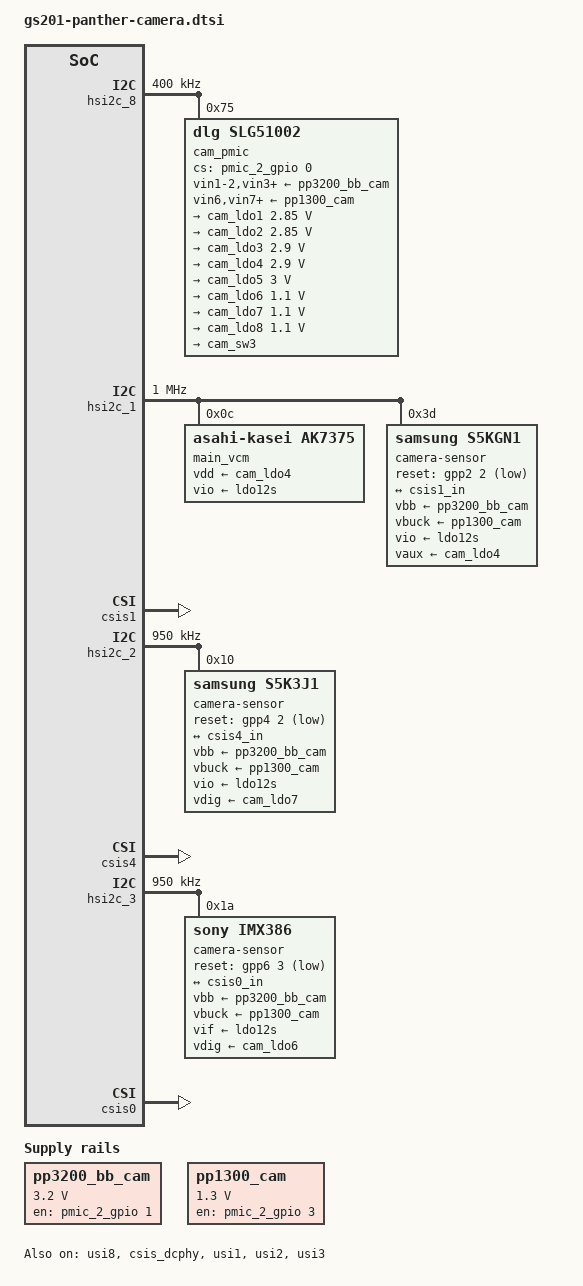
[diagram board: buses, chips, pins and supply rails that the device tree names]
// SPDX-License-Identifier: GPL-2.0-only
/*
 * Google Pixel 7 (panther) cameras: main (Samsung S5KGN1), ultrawide (Sony
 * IMX386) and front (Samsung S5K3J1), through omarchy-mobile's CSIS/WDMA,
 * DC-PHY and sensor drivers (CAMERA-PLAN.md there). Cheetah's nodes
 * (gs201-cheetah.dts), checked against the stock dtbo's PANTHER MP entry
 * (board 0x30406) next to its CHEETAH MP one: the same buses, addresses,
 * reset pins, clocks and power switches, with three differences, all here:
 *
 *  - the front camera is powered from the camera PMIC's LDO7 (1.1 V, its
 *    digital supply) and LDO5 (3.0 V), where cheetah's uses LDO8 and the
 *    PMIC's switch 4; the order is the driver's (vdig, then vsw);
 *  - three camera PMIC voltages: LDO3 2.9 V, LDO5 3.0 V, LDO7 1.1 V;
 *  - the ultrawide has no focus actuator, and there is no telephoto.
 *
 * The sensor and PHY settings come from the phone's own camera software
 * (omarchy-mobile's tools/extract-camera-data), never from the repository:
 * /usr/lib/firmware/omamobile/camera/. The drivers are kept from loading at
 * boot (overlay/etc/modprobe.d/ztos-camera.conf) and loaded once the boot
 * has settled (ztos-camera.service).
 */

#include <dt-bindings/media/video-interfaces.h>

&{/reserved-memory} {
	/*
	 * Capture buffers: the CSIS WDMA takes 32-bit addresses and its
	 * SysMMU is left in bypass, so frames go to contiguous memory below
	 * 4 GiB. Reusable: the pages serve movable allocations while no
	 * camera streams.
	 */
	camera_pool: camera-pool {
		compatible = "shared-dma-pool";
		reusable;
		size = <0x8000000>;
		/* read with the root's #address-cells (2), not #size-cells */
		alignment = <0x0 0x200000>;
		alloc-ranges = <0x0 0x80000000 0x80000000>;
	};
};

/*
 * Sub PMIC (S2MPG13): its GPIOs switch the camera power (GPIO0 the camera
 * PMIC's chip select, GPIO1 PP3200_BB_CAM, GPIO3 PP1300_CAM) and its LDO12S
 * is every sensor's 1.8 V I/O supply. Only LDO12S is described, so nothing
 * else on this PMIC can be switched.
 */
&acpm_ipc {
	pmic-2 {
		compatible = "samsung,s2mpg13-pmic";

		pmic_2_gpio: gpio {
			compatible = "samsung,s2mpg13-gpio";
			gpio-controller;
			#gpio-cells = <2>;
		};

		regulators {
			ldo12s: ldo12s {
				regulator-name = "vddio_cam";
				regulator-min-microvolt = <1800000>;
				regulator-max-microvolt = <1800000>;
			};
		};
	};
};

/ {
	pp3200_bb_cam: regulator-pp3200-bb-cam {
		compatible = "regulator-fixed";
		regulator-name = "PP3200_BB_CAM";
		regulator-min-microvolt = <3200000>;
		regulator-max-microvolt = <3200000>;
		regulator-enable-ramp-delay = <2000>;
		gpio = <&pmic_2_gpio 1 GPIO_ACTIVE_HIGH>;
		enable-active-high;
	};

	pp1300_cam: regulator-pp1300-cam {
		compatible = "regulator-fixed";
		regulator-name = "PP1300_CAM";
		regulator-min-microvolt = <1300000>;
		regulator-max-microvolt = <1300000>;
		regulator-enable-ramp-delay = <2000>;
		gpio = <&pmic_2_gpio 3 GPIO_ACTIVE_HIGH>;
		enable-active-high;
	};
};

/* The camera PMIC (SLG51002) on I2C bus 8, as stock. The haptics share the bus. */
&usi8 {
	samsung,mode = <USI_MODE_I2C>;
	status = "okay";
};

&hsi2c_8 {
	clock-frequency = <400000>;
	status = "okay";

	cam_pmic: pmic@75 {
		compatible = "dlg,slg51002";
		reg = <0x75>;
		dlg,cs-gpios = <&pmic_2_gpio 0 GPIO_ACTIVE_HIGH>;
		vin1-2-supply = <&pp3200_bb_cam>;
		vin3-supply = <&pp3200_bb_cam>;
		vin4-supply = <&pp3200_bb_cam>;
		vin5-supply = <&pp3200_bb_cam>;
		vin6-supply = <&pp1300_cam>;
		vin7-supply = <&pp1300_cam>;
		vin8-supply = <&pp1300_cam>;

		/* stock panther's voltages (LDO3, LDO5 and LDO7 differ from cheetah's) */
		regulators {
			cam_ldo1: ldo1 {
				regulator-name = "vdda_main";
				regulator-min-microvolt = <2850000>;
				regulator-max-microvolt = <2850000>;
			};

			cam_ldo2: ldo2 {
				regulator-name = "vdda_uw";
				regulator-min-microvolt = <2850000>;
				regulator-max-microvolt = <2850000>;
			};

			cam_ldo3: ldo3 {
				regulator-name = "vdd_main_ois";
				regulator-min-microvolt = <2900000>;
				regulator-max-microvolt = <2900000>;
			};

			cam_ldo4: ldo4 {
				regulator-name = "vdd_main_af";
				regulator-min-microvolt = <2900000>;
				regulator-max-microvolt = <2900000>;
			};

			cam_ldo5: ldo5 {
				regulator-name = "vdda_front";
				regulator-min-microvolt = <3000000>;
				regulator-max-microvolt = <3000000>;
			};

			cam_ldo6: ldo6 {
				regulator-name = "vddd_uw";
				regulator-min-microvolt = <1100000>;
				regulator-max-microvolt = <1100000>;
			};

			cam_ldo7: ldo7 {
				regulator-name = "vddd_front";
				regulator-min-microvolt = <1100000>;
				regulator-max-microvolt = <1100000>;
			};

			cam_ldo8: ldo8 {
				regulator-name = "vddd_main";
				regulator-min-microvolt = <1100000>;
				regulator-max-microvolt = <1100000>;
			};

			cam_sw3: sw3 {
				regulator-name = "cam_sw3";
			};
		};
	};
};

&pinctrl_peric0 {
	cam_uw_mclk_on: cam-uw-mclk-on-pins {
		samsung,pins = "gpp3-0";
		samsung,pin-function = <GS101_PIN_FUNC_2>;
		samsung,pin-pud = <GS101_PIN_PULL_NONE>;
		samsung,pin-drv = <GS101_PIN_DRV_2_5_MA>;
	};

	cam_front_mclk_on: cam-front-mclk-on-pins {
		samsung,pins = "gpp5-0";
		samsung,pin-function = <GS101_PIN_FUNC_2>;
		samsung,pin-pud = <GS101_PIN_PULL_NONE>;
		samsung,pin-drv = <GS101_PIN_DRV_2_5_MA>;
	};

	cam_main_mclk_on: cam-main-mclk-on-pins {
		samsung,pins = "gpp9-0";
		samsung,pin-function = <GS101_PIN_FUNC_2>;
		samsung,pin-pud = <GS101_PIN_PULL_NONE>;
		samsung,pin-drv = <GS101_PIN_DRV_2_5_MA>;
	};
};

&csis_dcphy {
	/* receive settings, generated from the phone's own camera software */
	firmware-name = "omamobile/camera/gs201-dcphy.bin";
	status = "okay";
};

/*
 * Main camera: the S5KGN1 at 0x3d on PERIC0 USI1 (I2C bus 1, 1 MHz as
 * stock), three C-PHY trios to CSIS link 1, with its AK7375-type focus
 * actuator at 0x0c. Stock power-up: PP3200_BB, PP1300, LDO12S, LDO4, 1 ms,
 * SLG switch 3, LDO8, LDO1, 2 ms, reset released, 1 ms, MCLK on (CIS_CLK3
 * on gpp9-0), 9 ms.
 */
&usi1 {
	samsung,mode = <USI_MODE_I2C>;
	status = "okay";
};

&hsi2c_1 {
	clock-frequency = <1000000>;
	status = "okay";

	main_vcm: lens@c {
		compatible = "asahi-kasei,ak7375";
		reg = <0x0c>;
		vdd-supply = <&cam_ldo4>;
		vio-supply = <&ldo12s>;
	};

	camera-sensor@3d {
		compatible = "samsung,s5kgn1";
		reg = <0x3d>;
		clocks = <&cmu_top CLK_DOUT_CMU_CIS_CLK3>;
		assigned-clocks = <&cmu_top CLK_DOUT_CMU_CIS_CLK3>;
		assigned-clock-rates = <24576000>;
		pinctrl-names = "default";
		pinctrl-0 = <&cam_main_mclk_on>;
		reset-gpios = <&gpp2 2 GPIO_ACTIVE_LOW>;
		vbb-supply = <&pp3200_bb_cam>;
		vbuck-supply = <&pp1300_cam>;
		vio-supply = <&ldo12s>;
		vaux-supply = <&cam_ldo4>;
		vsw-supply = <&cam_sw3>;
		vdig-supply = <&cam_ldo8>;
		vana-supply = <&cam_ldo1>;
		lens-focus = <&main_vcm>;
		firmware-name = "omamobile/camera/s5kgn1-main.bin";
		/* the CSIS WDMA drops lines arriving above ~400 MB/s */
		samsung,max-line-throughput = <360>;
		orientation = <1>;	/* back */
		rotation = <90>;

		port {
			main_out: endpoint {
				remote-endpoint = <&csis1_in>;
				bus-type = <MEDIA_BUS_TYPE_CSI2_CPHY>;
				data-lanes = <1 2 3>;
				link-frequencies = /bits/ 64 <931229968>;
			};
		};
	};
};

&csis1 {
	memory-region = <&camera_pool>;
	status = "okay";
};

&csis1_in {
	remote-endpoint = <&main_out>;
	bus-type = <MEDIA_BUS_TYPE_CSI2_CPHY>;
	data-lanes = <1 2 3>;
};

/*
 * Front camera: the S5K3J1 at 0x10 on PERIC0 USI2 (I2C bus 2, 950 kHz as
 * stock), four D-PHY lanes to CSIS link 4 (DC-PHY slaves 4 and 5 as one
 * receiver: cheetah's telephoto link, and panther has no telephoto), fixed
 * focus. It streams on links 0 and 2 (frame_count at stop) and neither
 * sees a frame start. Stock power-up on panther: PP3200_BB, PP1300,
 * LDO12S, LDO7, LDO5, MCLK on (CIS_CLK1 on gpp5-0), reset released
 * (gpp4-2).
 */
&usi2 {
	samsung,mode = <USI_MODE_I2C>;
	status = "okay";
};

&hsi2c_2 {
	clock-frequency = <950000>;
	status = "okay";

	camera-sensor@10 {
		compatible = "samsung,s5k3j1";
		reg = <0x10>;
		clocks = <&cmu_top CLK_DOUT_CMU_CIS_CLK1>;
		assigned-clocks = <&cmu_top CLK_DOUT_CMU_CIS_CLK1>;
		assigned-clock-rates = <24576000>;
		pinctrl-names = "default";
		pinctrl-0 = <&cam_front_mclk_on>;
		reset-gpios = <&gpp4 2 GPIO_ACTIVE_LOW>;
		vbb-supply = <&pp3200_bb_cam>;
		vbuck-supply = <&pp1300_cam>;
		vio-supply = <&ldo12s>;
		vdig-supply = <&cam_ldo7>;
		vsw-supply = <&cam_ldo5>;
		firmware-name = "omamobile/camera/s5k3j1-front.bin";
		samsung,max-line-throughput = <360>;
		orientation = <0>;	/* front */
		rotation = <90>;

		port {
			front_out: endpoint {
				remote-endpoint = <&csis4_in>;
				data-lanes = <1 2 3 4>;
				link-frequencies = /bits/ 64 <832512000>;
			};
		};
	};
};

&csis4 {
	memory-region = <&camera_pool>;
	status = "okay";
};

&csis4_in {
	remote-endpoint = <&front_out>;
	data-lanes = <1 2 3 4>;
};

/*
 * Ultrawide: the IMX386 at 0x1a on PERIC0 USI3 (I2C bus 3), four D-PHY
 * lanes to CSIS link 0, cheetah's front link (on panther the ultrawide
 * captures there, not on cheetah's link 2, 2026-10-26). Fixed focus on
 * panther: stock has no actuator for it. MCLK CIS_CLK0 on gpp3-0.
 */
&usi3 {
	samsung,mode = <USI_MODE_I2C>;
	status = "okay";
};

&hsi2c_3 {
	clock-frequency = <950000>;
	status = "okay";

	camera-sensor@1a {
		compatible = "sony,imx386";
		reg = <0x1a>;
		clocks = <&cmu_top CLK_DOUT_CMU_CIS_CLK0>;
		assigned-clocks = <&cmu_top CLK_DOUT_CMU_CIS_CLK0>;
		assigned-clock-rates = <24576000>;
		pinctrl-names = "default";
		pinctrl-0 = <&cam_uw_mclk_on>;
		reset-gpios = <&gpp6 3 GPIO_ACTIVE_LOW>;
		/* stock's order: PP3200_BB, PP1300, LDO12S, LDO6, LDO2 */
		vbb-supply = <&pp3200_bb_cam>;
		vbuck-supply = <&pp1300_cam>;
		vif-supply = <&ldo12s>;
		vdig-supply = <&cam_ldo6>;
		vana-supply = <&cam_ldo2>;
		firmware-name = "omamobile/camera/imx386-uw.bin";
		/* 360 still let an odd frame of the 4032x3016 mode drop lines (cheetah) */
		sony,max-line-throughput = <330>;
		orientation = <1>;	/* back */
		rotation = <270>;

		port {
			uw_out: endpoint {
				remote-endpoint = <&csis0_in>;
				data-lanes = <1 2 3 4>;
				link-frequencies = /bits/ 64 <774144000>;
			};
		};
	};
};

&csis0 {
	memory-region = <&camera_pool>;
	status = "okay";
};

&csis0_in {
	remote-endpoint = <&uw_out>;
	data-lanes = <1 2 3 4>;
};
